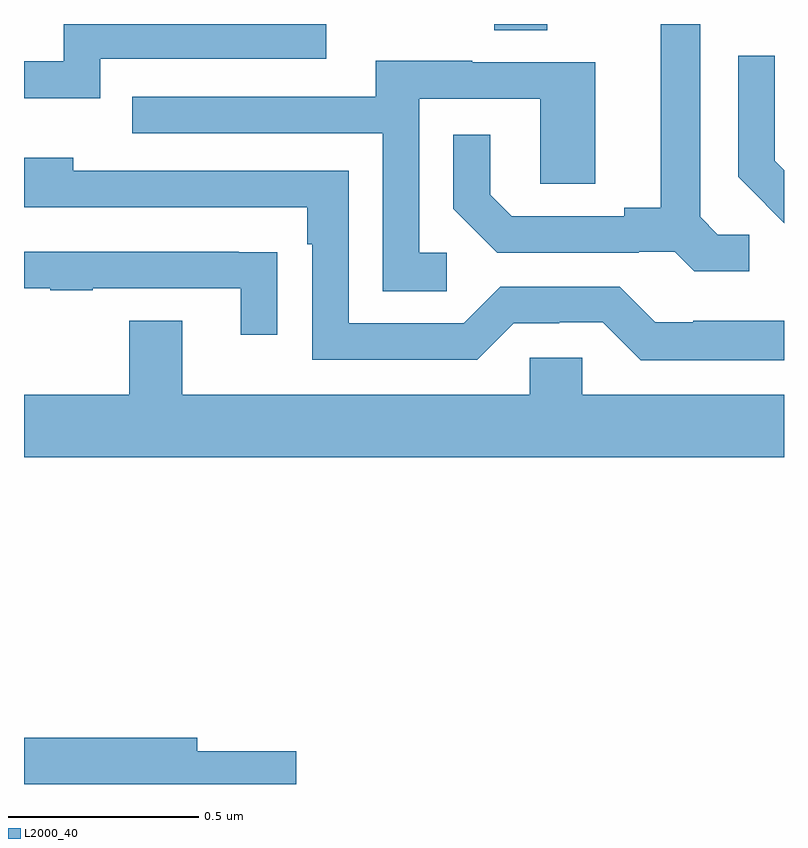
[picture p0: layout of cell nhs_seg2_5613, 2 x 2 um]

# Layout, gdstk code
import gdstk
lib = gdstk.Library(unit=1e-6, precision=1e-09)
def R(c, l, rs):  # rectangles x0, y0, x1, y1
    for r in rs: c.add(gdstk.rectangle(r[:2], r[2:], *l))
def P(c, l, *ps):  # polygons
    for p in ps: c.add(gdstk.Polygon(p, *l))
L2000_40 = (2000, 40)

nhs_seg2_5613 = lib.new_cell('nhs_seg2_5613')
R(nhs_seg2_5613, L2000_40, [(182.237,624.784,182.377,624.8)])
P(nhs_seg2_5613, L2000_40, [(181.2,624.708),(181.795,624.708),(181.795,624.8),(181.104,624.8),(181.104,624.702),(181,624.702),(181,624.605),(181.2,624.605)],
  [(182.908,624.246),(182.826,624.246),(182.779,624.293),(182.779,624.8),(182.675,624.8),(182.675,624.317),(182.579,624.317),(182.579,624.294),(182.284,624.294),(182.227,624.351),(182.227,624.508),(182.13,624.508),(182.13,624.314),(182.246,624.198),(182.618,624.198),(182.618,624.201),(182.712,624.201),(182.764,624.149),(182.908,624.149)],
  [(183,624.415),(182.975,624.44),(182.975,624.562),(182.976,624.562),(182.976,624.716),(182.88,624.716),(182.88,624.398),(182.953,624.325),(182.952,624.324),(183,624.276)],
  [(182.113,624.198),(182.04,624.198),(182.04,624.603),(182.358,624.603),(182.358,624.379),(182.503,624.379),(182.503,624.699),(182.179,624.699),(182.179,624.703),(181.925,624.703),(181.925,624.609),(181.285,624.609),(181.285,624.513),(181.944,624.513),(181.944,624.097),(182.113,624.097)],
  [(183,624.019),(182.761,624.019),(182.761,624.015),(182.661,624.015),(182.568,624.108),(182.253,624.108),(182.157,624.012),(181.854,624.012),(181.854,624.414),(181.13,624.414),(181.13,624.448),(181,624.448),(181,624.318),(181.745,624.318),(181.745,624.221),(181.758,624.221),(181.758,623.916),(182.193,623.916),(182.289,624.012),(182.408,624.012),(182.408,624.015),(182.523,624.015),(182.623,623.915),(183,623.915)],
  [(181.667,624.2),(181.565,624.2),(181.565,624.201),(181,624.201),(181,624.105),(181.069,624.105),(181.069,624.1),(181.181,624.1),(181.181,624.105),(181.571,624.105),(181.571,623.982),(181.667,623.982)],
  [(183,623.824),(182.469,623.824),(182.469,623.922),(182.331,623.922),(182.331,623.824),(181.417,623.824),(181.417,624.019),(181.277,624.019),(181.277,623.824),(181,623.824),(181,623.66),(183,623.66)],
  [(181.717,622.886),(181.456,622.886),(181.456,622.922),(181,622.922),(181,622.8),(181.717,622.8)])

lib.write_gds('nhs_seg2_5613.gds')
